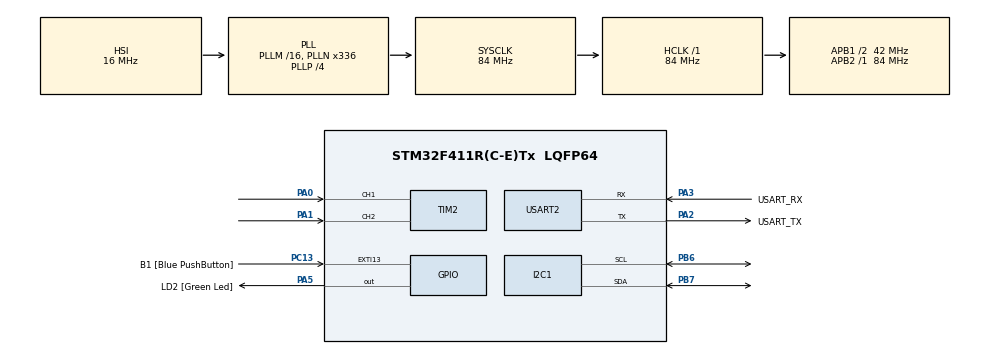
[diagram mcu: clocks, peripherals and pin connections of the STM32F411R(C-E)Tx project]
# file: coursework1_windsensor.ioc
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Mcu.Family=STM32F4
Mcu.Name=STM32F411R(C-E)Tx
Mcu.Package=LQFP64
NVIC.PriorityGroup=NVIC_PRIORITYGROUP_0
NVIC.TIM3_IRQn=true\:0\:0\:false\:false\:true\:true\:true\:true
PA0-WKUP.Signal=S_TIM2_CH1_ETR
PA1.Signal=S_TIM2_CH2
PA13.GPIO_Label=TMS
PA13.Mode=Serial_Wire
PA13.Signal=SYS_JTMS-SWDIO
PA14.GPIO_Label=TCK
PA14.Mode=Serial_Wire
PA14.Signal=SYS_JTCK-SWCLK
PA2.GPIO_Label=USART_TX
PA2.Mode=Asynchronous
PA2.Signal=USART2_TX
PA3.GPIO_Label=USART_RX
PA3.Mode=Asynchronous
PA3.Signal=USART2_RX
PA5.GPIO_Label=LD2 [Green Led]
PA5.Signal=GPIO_Output
PB3.GPIO_Label=SWO
PB3.Signal=SYS_JTDO-SWO
PB6.Mode=I2C
PB6.Signal=I2C1_SCL
PB7.Mode=I2C
PB7.Signal=I2C1_SDA
PC13-ANTI_TAMP.GPIO_Label=B1 [Blue PushButton]
PC13-ANTI_TAMP.GPIO_ModeDefaultEXTI=GPIO_MODE_IT_FALLING
PC13-ANTI_TAMP.Signal=GPXTI13
PC14-OSC32_IN.Mode=LSE-External-Oscillator
PC14-OSC32_IN.Signal=RCC_OSC32_IN
PC15-OSC32_OUT.Mode=LSE-External-Oscillator
PC15-OSC32_OUT.Signal=RCC_OSC32_OUT
PH0\ -\ OSC_IN.Mode=HSE-External-Clock-Source
PH0\ -\ OSC_IN.Signal=RCC_OSC_IN
PH1\ -\ OSC_OUT.Mode=HSE-External-Clock-Source
PH1\ -\ OSC_OUT.Signal=RCC_OSC_OUT
ProjectManager.HeapSize=0x200
ProjectManager.StackSize=0x400
ProjectManager.TargetToolchain=STM32CubeIDE
RCC.48MHZClocksFreq_Value=84000000
RCC.AHBFreq_Value=84000000
RCC.APB1CLKDivider=RCC_HCLK_DIV2
RCC.APB1Freq_Value=42000000
RCC.APB1TimFreq_Value=84000000
RCC.APB2Freq_Value=84000000
RCC.APB2TimFreq_Value=84000000
RCC.CortexFreq_Value=84000000
RCC.FLatency-AdvancedSettings=FLASH_LATENCY_2
RCC.HCLKFreq_Value=84000000
RCC.HSE_VALUE=8000000
RCC.HSI_VALUE=16000000
RCC.PLLN=336
RCC.PLLP=RCC_PLLP_DIV4
RCC.SYSCLKFreq_VALUE=84000000
RCC.SYSCLKSource=RCC_SYSCLKSOURCE_PLLCLK
RCC.VCOOutputFreq_Value=336000000
SH.S_TIM2_CH1_ETR.0=TIM2_CH1,Encoder_Interface
SH.S_TIM2_CH2.0=TIM2_CH2,Encoder_Interface
TIM2.EncoderMode=TIM_ENCODERMODE_TI12
TIM2.IC1Filter=5
TIM2.IC2Filter=5
TIM3.Period=50
TIM3.Prescaler=8400
USART2.VirtualMode=VM_ASYNC
VP_TIM3_VS_ClockSourceINT.Mode=Internal
board=NUCLEO-F411RE

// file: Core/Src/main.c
/* USER CODE BEGIN Header */
/**
  ******************************************************************************
  * @file           : main.c
  * @brief          : Main program body
  ******************************************************************************
  * @attention
  *
  * Copyright (c) 2025 STMicroelectronics.
  * All rights reserved.
  *
  * This software is licensed under terms that can be found in the LICENSE file
  * in the root directory of this software component.
  * If no LICENSE file comes with this software, it is provided AS-IS.
  *
  ******************************************************************************
  */
/* USER CODE END Header */
#include "main.h"
#include <stdio.h>
#include "nau7802.h"
#include <string.h>
#include <stdbool.h>
#include <math.h>

I2C_HandleTypeDef hi2c1;

TIM_HandleTypeDef htim2;
TIM_HandleTypeDef htim3;

UART_HandleTypeDef huart2;

/* USER CODE BEGIN PV */
#define PI (3.14159265359f)   // computed from dt/(tau+dt)

char uartBuf[64];

// LOAD CELL
int32_t zeroOffset = 0;
double force_coeff = 8.76884498e-06;
float force_bias = 3.92787482 + 0.5315445;							// calculated calibration factors to map raw adc to force (0.5315445 from numerical calibration)
static float v_load_coeff = 0.5 * 1.225 * 0.12 * 0.15 * 1.28;		// [rho = 1.225, A = 0.12*0.15. Cd = 1.28]
static volatile float force = 0;
static volatile float v_load = 0;

static uint8_t samplingRate = 200; 					// Sampling rate
static volatile uint8_t outputBool = 0;				// Boolean to send the code over uart

// ENCODER PV
static volatile int32_t prevCount = 0;         		// last count (wrap-safe with int32_t)
static volatile int32_t latestCount = 0;
static volatile int32_t latestDelta = 0;
static volatile uint8_t sampleReady = 0;
static float encoder_coeff = 0.069776;				// Maps delta counts to linear speed
static float encoder_bias =  0.916947;
static volatile float v_enc = 0.0;

// Filter Params
static float fc_cross = 1.0;
static float dt = 1.0f / 200.0f;
static volatile float tau;
static volatile float alpha;
static float LP_load = 0;
static float LP_enc = 0;
static float v_est = 0;
static bool calibrationMode = false;

/* USER CODE END PV */

void SystemClock_Config(void);
static void MX_GPIO_Init(void);
static void MX_USART2_UART_Init(void);
static void MX_TIM2_Init(void);
static void MX_I2C1_Init(void);
static void MX_TIM3_Init(void);
/* USER CODE BEGIN PFP */
static inline void printUART(const char* s)
{
  HAL_UART_Transmit(&huart2, (uint8_t*)s, (uint16_t)strlen(s), 50);
}

/* USER CODE END PFP */

int main(void)
{

  /* MCU Configuration--------------------------------------------------------*/

  /* Reset of all peripherals, Initializes the Flash interface and the Systick. */
  HAL_Init();

  /* USER CODE BEGIN Init */
  HAL_NVIC_SetPriorityGrouping(NVIC_PRIORITYGROUP_4);
  HAL_NVIC_SetPriority(SysTick_IRQn, 15, 0);
  HAL_NVIC_SetPriority(TIM4_IRQn, 5, 0);
  HAL_NVIC_EnableIRQ(TIM4_IRQn);
  /* USER CODE END Init */

  /* Configure the system clock */
  SystemClock_Config();

  /* Initialize all configured peripherals */
  MX_GPIO_Init();
  MX_USART2_UART_Init();
  MX_TIM2_Init();
  MX_I2C1_Init();
  MX_TIM3_Init();
  /* USER CODE BEGIN 2 */

  /* ----------- LOAD CELL VALUES INIT --------- */
  if (!NAU7802_begin(&hi2c1))
  	{
  		sprintf(uartBuf, "NAU7802 init failed!\r\n");
  		HAL_UART_Transmit(&huart2, (uint8_t*)uartBuf, strlen(uartBuf), 100);
  		while (1);
  	}

  sprintf(uartBuf, "NAU7802 initialized!\r\n");
  HAL_UART_Transmit(&huart2, (uint8_t*)uartBuf, strlen(uartBuf), 100);

  // --- ZERO OFFSET CALIBRATION ---
  sprintf(uartBuf, "Place sensor with no wind at rest...\r\n");
  HAL_UART_Transmit(&huart2, (uint8_t*)uartBuf, strlen(uartBuf), 100);
  HAL_Delay(3000); // wait 3 seconds for user

  zeroOffset = NAU7802_getAverage(&hi2c1, 64, 1000); // average 320 readings (1 second)
  NAU7802_setZeroOffset(zeroOffset);

  sprintf(uartBuf, "Zero offset: %ld\r\n", zeroOffset);
  HAL_UART_Transmit(&huart2, (uint8_t*)uartBuf, strlen(uartBuf), 100);

  printf(uartBuf, "Place known weight (50g)...\r\n");
  HAL_UART_Transmit(&huart2, (uint8_t*)uartBuf, strlen(uartBuf), 100);
  HAL_Delay(5000); // wait 5 seconds for user

  // --- SCALE FACTOR CALIBRATION ---
//  sprintf(uartBuf, "Place known weight (1000g)...\r\n");
//  HAL_UART_Transmit(&huart2, (uint8_t*)uartBuf, strlen(uartBuf), 100);
//  HAL_Delay(5000); // wait 5 seconds for user
//
//  int32_t readingWithWeight = NAU7802_getAverage(&hi2c1, 64 , 1000);
//  calFactor = (float)(readingWithWeight - zeroOffset) / 1.0f; // units per gram
//  NAU7802_setCalibrationFactor(calFactor);

//  sprintf(uartBuf, "Calibration done. Factor: %.3f units/g\r\n", calFactor);
//  HAL_UART_Transmit(&huart2, (uint8_t*)uartBuf, strlen(uartBuf), 100);

  sprintf(uartBuf, "OUTPUT: Load Cell [g], Angular Velocity [deg/s]\n");
  HAL_UART_Transmit(&huart2, (uint8_t*)uartBuf, strlen(uartBuf), 100);

  /* ----------- ENCODER VALUES INIT --------- */
//   int counterValue = 0;
//   int pastCounterValue = 0;
//   float angleValue=0;

   // Zero and start the hardware encoder
   __HAL_TIM_SET_COUNTER(&htim2, 0);
   HAL_TIM_Encoder_Start(&htim2, TIM_CHANNEL_ALL);

   /*----------- OUTPUT TIMER INIT ----------- */
   HAL_TIM_Base_Start_IT(&htim3);						// Init clock for outputting data

   // Compute filtering params
   tau = 1.0f /(2*PI*fc_cross);
   alpha = dt/(tau + dt);

  /* USER CODE END 2 */

  /* Infinite loop */
  /* USER CODE BEGIN WHILE */
  while (1)
  {

	  // Output when outputBool set to TRUE
	  if (outputBool == 1)
	  {
		  // reset the outputBool
		  outputBool = 0;

		  // Output the latest force and values from the  value
		  if (calibrationMode) {
			  sprintf(uartBuf, "%.4f, %ld \n", force, latestDelta);
			  HAL_UART_Transmit(&huart2, (uint8_t*)uartBuf, strlen(uartBuf), 50);

		  }
		  else {
			  sprintf(uartBuf, "%.4f\n", v_est);
			  HAL_UART_Transmit(&huart2, (uint8_t*)uartBuf, strlen(uartBuf), 50);
		  }

	  }

    /* USER CODE END WHILE */

  }
}

void SystemClock_Config(void)
{
  RCC_OscInitTypeDef RCC_OscInitStruct = {0};
  RCC_ClkInitTypeDef RCC_ClkInitStruct = {0};

  /** Configure the main internal regulator output voltage
  */
  __HAL_RCC_PWR_CLK_ENABLE();
  __HAL_PWR_VOLTAGESCALING_CONFIG(PWR_REGULATOR_VOLTAGE_SCALE1);

  /** Initializes the RCC Oscillators according to the specified parameters
  * in the RCC_OscInitTypeDef structure.
  */
  RCC_OscInitStruct.OscillatorType = RCC_OSCILLATORTYPE_HSI;
  RCC_OscInitStruct.HSIState = RCC_HSI_ON;
  RCC_OscInitStruct.HSICalibrationValue = RCC_HSICALIBRATION_DEFAULT;
  RCC_OscInitStruct.PLL.PLLState = RCC_PLL_ON;
  RCC_OscInitStruct.PLL.PLLSource = RCC_PLLSOURCE_HSI;
  RCC_OscInitStruct.PLL.PLLM = 16;
  RCC_OscInitStruct.PLL.PLLN = 336;
  RCC_OscInitStruct.PLL.PLLP = RCC_PLLP_DIV4;
  RCC_OscInitStruct.PLL.PLLQ = 4;
  if (HAL_RCC_OscConfig(&RCC_OscInitStruct) != HAL_OK)
  {
    Error_Handler();
  }

  /** Initializes the CPU, AHB and APB buses clocks
  */
  RCC_ClkInitStruct.ClockType = RCC_CLOCKTYPE_HCLK|RCC_CLOCKTYPE_SYSCLK
                              |RCC_CLOCKTYPE_PCLK1|RCC_CLOCKTYPE_PCLK2;
  RCC_ClkInitStruct.SYSCLKSource = RCC_SYSCLKSOURCE_PLLCLK;
  RCC_ClkInitStruct.AHBCLKDivider = RCC_SYSCLK_DIV1;
  RCC_ClkInitStruct.APB1CLKDivider = RCC_HCLK_DIV2;
  RCC_ClkInitStruct.APB2CLKDivider = RCC_HCLK_DIV1;

  if (HAL_RCC_ClockConfig(&RCC_ClkInitStruct, FLASH_LATENCY_2) != HAL_OK)
  {
    Error_Handler();
  }
}

static void MX_I2C1_Init(void)
{

  hi2c1.Instance = I2C1;
  hi2c1.Init.ClockSpeed = 100000;
  hi2c1.Init.DutyCycle = I2C_DUTYCYCLE_2;
  hi2c1.Init.OwnAddress1 = 0;
  hi2c1.Init.AddressingMode = I2C_ADDRESSINGMODE_7BIT;
  hi2c1.Init.DualAddressMode = I2C_DUALADDRESS_DISABLE;
  hi2c1.Init.OwnAddress2 = 0;
  hi2c1.Init.GeneralCallMode = I2C_GENERALCALL_DISABLE;
  hi2c1.Init.NoStretchMode = I2C_NOSTRETCH_DISABLE;
  if (HAL_I2C_Init(&hi2c1) != HAL_OK)
  {
    Error_Handler();
  }

}

static void MX_TIM2_Init(void)
{

  TIM_Encoder_InitTypeDef sConfig = {0};
  TIM_MasterConfigTypeDef sMasterConfig = {0};

  htim2.Instance = TIM2;
  htim2.Init.Prescaler = 0;
  htim2.Init.CounterMode = TIM_COUNTERMODE_UP;
  htim2.Init.Period = 4294967295;
  htim2.Init.ClockDivision = TIM_CLOCKDIVISION_DIV1;
  htim2.Init.AutoReloadPreload = TIM_AUTORELOAD_PRELOAD_DISABLE;
  sConfig.EncoderMode = TIM_ENCODERMODE_TI12;
  sConfig.IC1Polarity = TIM_ICPOLARITY_RISING;
  sConfig.IC1Selection = TIM_ICSELECTION_DIRECTTI;
  sConfig.IC1Prescaler = TIM_ICPSC_DIV1;
  sConfig.IC1Filter = 5;
  sConfig.IC2Polarity = TIM_ICPOLARITY_RISING;
  sConfig.IC2Selection = TIM_ICSELECTION_DIRECTTI;
  sConfig.IC2Prescaler = TIM_ICPSC_DIV1;
  sConfig.IC2Filter = 5;
  if (HAL_TIM_Encoder_Init(&htim2, &sConfig) != HAL_OK)
  {
    Error_Handler();
  }
  sMasterConfig.MasterOutputTrigger = TIM_TRGO_RESET;
  sMasterConfig.MasterSlaveMode = TIM_MASTERSLAVEMODE_DISABLE;
  if (HAL_TIMEx_MasterConfigSynchronization(&htim2, &sMasterConfig) != HAL_OK)
  {
    Error_Handler();
  }

}

static void MX_TIM3_Init(void)
{

  TIM_ClockConfigTypeDef sClockSourceConfig = {0};
  TIM_MasterConfigTypeDef sMasterConfig = {0};

  htim3.Instance = TIM3;
  htim3.Init.Prescaler = 8400;
  htim3.Init.CounterMode = TIM_COUNTERMODE_UP;
  htim3.Init.Period = 50;
  htim3.Init.ClockDivision = TIM_CLOCKDIVISION_DIV1;
  htim3.Init.AutoReloadPreload = TIM_AUTORELOAD_PRELOAD_DISABLE;
  if (HAL_TIM_Base_Init(&htim3) != HAL_OK)
  {
    Error_Handler();
  }
  sClockSourceConfig.ClockSource = TIM_CLOCKSOURCE_INTERNAL;
  if (HAL_TIM_ConfigClockSource(&htim3, &sClockSourceConfig) != HAL_OK)
  {
    Error_Handler();
  }
  sMasterConfig.MasterOutputTrigger = TIM_TRGO_RESET;
  sMasterConfig.MasterSlaveMode = TIM_MASTERSLAVEMODE_DISABLE;
  if (HAL_TIMEx_MasterConfigSynchronization(&htim3, &sMasterConfig) != HAL_OK)
  {
    Error_Handler();
  }

}

static void MX_USART2_UART_Init(void)
{

  huart2.Instance = USART2;
  huart2.Init.BaudRate = 115200;
  huart2.Init.WordLength = UART_WORDLENGTH_8B;
  huart2.Init.StopBits = UART_STOPBITS_1;
  huart2.Init.Parity = UART_PARITY_NONE;
  huart2.Init.Mode = UART_MODE_TX_RX;
  huart2.Init.HwFlowCtl = UART_HWCONTROL_NONE;
  huart2.Init.OverSampling = UART_OVERSAMPLING_16;
  if (HAL_UART_Init(&huart2) != HAL_OK)
  {
    Error_Handler();
  }

}

static void MX_GPIO_Init(void)
{
  GPIO_InitTypeDef GPIO_InitStruct = {0};

  /* GPIO Ports Clock Enable */
  __HAL_RCC_GPIOC_CLK_ENABLE();
  __HAL_RCC_GPIOH_CLK_ENABLE();
  __HAL_RCC_GPIOA_CLK_ENABLE();
  __HAL_RCC_GPIOB_CLK_ENABLE();

  /*Configure GPIO pin Output Level */
  HAL_GPIO_WritePin(LD2_GPIO_Port, LD2_Pin, GPIO_PIN_RESET);

  /*Configure GPIO pin : B1_Pin */
  GPIO_InitStruct.Pin = B1_Pin;
  GPIO_InitStruct.Mode = GPIO_MODE_IT_FALLING;
  GPIO_InitStruct.Pull = GPIO_NOPULL;
  HAL_GPIO_Init(B1_GPIO_Port, &GPIO_InitStruct);

  /*Configure GPIO pin : LD2_Pin */
  GPIO_InitStruct.Pin = LD2_Pin;
  GPIO_InitStruct.Mode = GPIO_MODE_OUTPUT_PP;
  GPIO_InitStruct.Pull = GPIO_NOPULL;
  GPIO_InitStruct.Speed = GPIO_SPEED_FREQ_LOW;
  HAL_GPIO_Init(LD2_GPIO_Port, &GPIO_InitStruct);

}

/* USER CODE BEGIN 4 */
void HAL_TIM_PeriodElapsedCallback(TIM_HandleTypeDef *htim)
{
  /* Prevent unused argument(s) compilation warning */
  if (htim->Instance==TIM3) {
	  outputBool = 1;

	  /* -------- LOAD CELL V ESTIMATE -------- */
	  float raw_adc = NAU7802_getReading(&hi2c1);
	  // convert to force based on calibration factors
	  force = force_coeff * raw_adc + force_bias;

	  // v^2 from the force equation
	  v_load = (force / v_load_coeff);

	  if (v_load < 0.0f) {
		  v_load = 0.0;
	  }
	  else {
		  v_load = sqrt(v_load);
	  }

	  /* -------- ENCODER V ESTIMATE -------- */
	  int32_t c = (int32_t)__HAL_TIM_GET_COUNTER(&htim2);
	  int32_t d = c - prevCount;   							// wrap-safe with signed math

	  // convert to linear velocity
	  v_enc = encoder_coeff * d + encoder_bias;

	  // update values
	  prevCount = c;
	  latestCount = c;
	  latestDelta = d;

	  /* --------  V ESTIMATE -------- */
	  // LP_force[i] = LP_force[i-1] + alpha * (v_est_load[i] - LP_force[i-1])
	  LP_load += alpha * (v_load - LP_load);
	  LP_enc   += alpha * (v_enc   - LP_enc);
	  v_est = (LP_enc + LP_load)/2;

  }
}

/* USER CODE END 4 */

void Error_Handler(void)
{
  __disable_irq();
  while (1)
  {
  }
}
